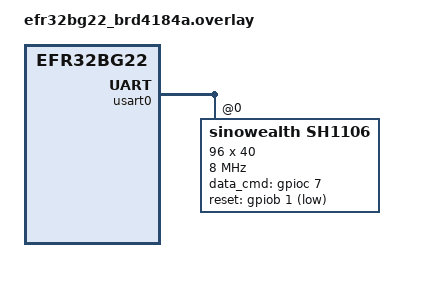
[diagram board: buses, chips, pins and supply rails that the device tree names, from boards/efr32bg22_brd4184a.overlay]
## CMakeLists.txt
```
# # SPDX-License-Identifier: Apache-2.0

cmake_minimum_required(VERSION 3.20.0)
find_package(Zephyr REQUIRED HINTS $ENV{ZEPHYR_BASE})
project(zephyr_mikrobus_demo)

target_sources(app PRIVATE src/main.c)
target_sources(app PRIVATE src/app.c)
target_sources(app PRIVATE fonts/font5x7.c)
target_sources(app PRIVATE fonts/font8x8.c)
target_sources(app PRIVATE fonts/font10x16.c)
target_sources(app PRIVATE fonts/font15x24.c)
target_sources(app PRIVATE fonts/font20x32.c)

target_include_directories(app PRIVATE ./)
```

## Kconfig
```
# Copyright (c) 2025 Silicon Laboratories Inc. www.silabs.com
# SPDX-License-Identifier: Apache-2.0

mainmenu "Si7210: Magnetic Threshold Configuration"

config SI7210_MAGNETIC_THRESHOLD
	int "Si7210 Magnetic threshold"
	default 20
	help
		This configuration can be used for configure magnetic threshold.

source "Kconfig.zephyr"
```

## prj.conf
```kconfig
CONFIG_HEAP_MEM_POOL_SIZE=4096
CONFIG_BUILD_OUTPUT_HEX=y

CONFIG_CHARACTER_FRAMEBUFFER=y
CONFIG_CHARACTER_FRAMEBUFFER_USE_DEFAULT_FONTS=n

CONFIG_SENSOR=y
CONFIG_SPI=y
CONFIG_DISPLAY=y
CONFIG_SSD1306=y
CONFIG_SSD1306_DEFAULT_CONTRAST=175
CONFIG_STDOUT_CONSOLE=y
CONFIG_LOG_BUFFER_SIZE=4096
CONFIG_LOG=y
CONFIG_SERIAL=y
CONFIG_CBPRINTF_FP_SUPPORT=y
```

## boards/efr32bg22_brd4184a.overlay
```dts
/*
 * Copyright (c) 2019 Callender-Consulting, LLC
 *
 * SPDX-License-Identifier: Apache-2.0
 */

&usart0 {
	sh1106: sh1106@0 {
		status = "okay";
		compatible = "sinowealth,sh1106";
		reg = <0>;
		spi-max-frequency = <8000000>;
		width = <96>;
		height = <40>;
		segment-offset = <0x20>;
		page-offset = <0>;
		display-offset = <0>;
		multiplex-ratio = <38>;
		segment-remap;
		com-invdir;
		prechargep = <0x25>;
		data_cmd-gpios = <&gpioc 7 GPIO_ACTIVE_HIGH>;
		reset-gpios = <&gpiob 1 GPIO_ACTIVE_LOW>;
	};

	cs-gpios = <&gpiob 2 GPIO_ACTIVE_LOW>;
	mx25r80: mx25r8035f@0 {
		status = "disabled";
	};
};
```

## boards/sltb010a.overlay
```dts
/*
 * Copyright (c) 2025 Silicon Laboratories Inc. www.silabs.com
 *
 * SPDX-License-Identifier: Apache-2.0
 */

&usart0 {
	ssd1306:ssd1306@0 {
		status = "okay";
		compatible = "solomon,ssd1306fb";
		reg = <0>;
		width = <96>;
		height = <40>;
		segment-offset = <0x20>;
		page-offset = <0>;
		display-offset = <0>;
		multiplex-ratio = <38>;
		segment-remap;
		inversion-on;
		com-invdir;
		prechargep = <0x25>;
		spi-max-frequency = <8000000>;
		data_cmd-gpios = <&gpioa 4 GPIO_ACTIVE_HIGH>;
		reset-gpios = <&gpiob 1 GPIO_ACTIVE_LOW>;
	};

	cs-gpios = <&gpiob 2 GPIO_ACTIVE_LOW>;
	mx25r80: mx25r8035f@0 {
		status = "disabled";
	};
};
```

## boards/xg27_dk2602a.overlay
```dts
/*
 * Copyright (c) 2025 Silicon Laboratories Inc. www.silabs.com
 *
 * SPDX-License-Identifier: Apache-2.0
 */

&usart0 {
	ssd1306:ssd1306@0 {
		status = "okay";
		compatible = "solomon,ssd1306fb";
		reg = <0>;
		width = <96>;
		height = <40>;
		segment-offset = <0x20>;
		page-offset = <0>;
		display-offset = <0>;
		multiplex-ratio = <38>;
		segment-remap;
		inversion-on;
		com-invdir;
		prechargep = <0x25>;
		spi-max-frequency = <8000000>;
		data_cmd-gpios = <&gpioa 4 GPIO_ACTIVE_HIGH>;
		reset-gpios = <&gpiob 1 GPIO_ACTIVE_LOW>;
	};

	cs-gpios = <&gpiob 2 GPIO_ACTIVE_LOW>;
	mx25r80: mx25r8035f@0 {
		status = "disabled";
	};
};
```

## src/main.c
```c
/***************************************************************************//**
 * @file main.c
 * @brief zephyr mikrobus demo source file.
 *******************************************************************************
 * # License
 * <b>Copyright 2025 Silicon Laboratories Inc. www.silabs.com</b>
 *******************************************************************************
 *
 * SPDX-License-Identifier: Zlib
 *
 * The licensor of this software is Silicon Laboratories Inc.
 *
 * This software is provided \'as-is\', without any express or implied
 * warranty. In no event will the authors be held liable for any damages
 * arising from the use of this software.
 *
 * Permission is granted to anyone to use this software for any purpose,
 * including commercial applications, and to alter it and redistribute it
 * freely, subject to the following restrictions:
 *
 * 1. The origin of this software must not be misrepresented; you must not
 *    claim that you wrote the original software. If you use this software
 *    in a product, an acknowledgment in the product documentation would be
 *    appreciated but is not required.
 * 2. Altered source versions must be plainly marked as such, and must not be
 *    misrepresented as being the original software.
 * 3. This notice may not be removed or altered from any source distribution.
 *
 *******************************************************************************
 * # EXPERIMENTAL QUALITY
 * This code has not been formally tested and is provided as-is. It is not
 * suitable for production environments. In addition, this code will not be
 * maintained and there may be no bug maintenance planned for these resources.
 * Silicon Labs may update projects from time to time.
 ******************************************************************************/

#include <zephyr/kernel.h>
#include "app.h"

#define STACKSIZE 1024
#define PRIORITY  7

/***************************************************************************//**
 * Main thread function.
 ******************************************************************************/
void main_thread(void *id, void *unused1, void *unused2)
{
  app_init();

  while (1) {
    app_process_action();
  }
}

K_THREAD_DEFINE(main_id, STACKSIZE, main_thread,
                NULL, NULL, NULL, PRIORITY, 0, 0);
```

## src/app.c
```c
/***************************************************************************//**
 * @file app.c
 * @brief zephyr mikrobus demo source file.
 *******************************************************************************
 * # License
 * <b>Copyright 2025 Silicon Laboratories Inc. www.silabs.com</b>
 *******************************************************************************
 *
 * SPDX-License-Identifier: Zlib
 *
 * The licensor of this software is Silicon Laboratories Inc.
 *
 * This software is provided \'as-is\', without any express or implied
 * warranty. In no event will the authors be held liable for any damages
 * arising from the use of this software.
 *
 * Permission is granted to anyone to use this software for any purpose,
 * including commercial applications, and to alter it and redistribute it
 * freely, subject to the following restrictions:
 *
 * 1. The origin of this software must not be misrepresented; you must not
 *    claim that you wrote the original software. If you use this software
 *    in a product, an acknowledgment in the product documentation would be
 *    appreciated but is not required.
 * 2. Altered source versions must be plainly marked as such, and must not be
 *    misrepresented as being the original software.
 * 3. This notice may not be removed or altered from any source distribution.
 *
 *******************************************************************************
 * # EXPERIMENTAL QUALITY
 * This code has not been formally tested and is provided as-is. It is not
 * suitable for production environments. In addition, this code will not be
 * maintained and there may be no bug maintenance planned for these resources.
 * Silicon Labs may update projects from time to time.
 ******************************************************************************/

#include <stdio.h>
#include <zephyr/device.h>
#include <zephyr/display/cfb.h>
#include <zephyr/drivers/sensor.h>
#include <zephyr/logging/log.h>
#include "app.h"

#define DISPLAY_DRIVER       "solomon_ssd1306fb"
#define SELECTED_FONT_INDEX  3

LOG_MODULE_REGISTER(app, 3);

static const struct device *display;
static const struct device *sensor;
static struct cfb_position line_start_pos = {
  .x = 0,
  .y = 10,
};
static struct cfb_position line_end_pos = {
  .x = 96,
  .y = 10,
};

static void app_sensor_init(void);
static void app_oled_init(void);
static void app_oled_update(float magnetic_value);

/***************************************************************************//**
 * OLED update application.
 ******************************************************************************/
static void app_oled_update(float magnetic_value)
{
  static char temp[10];

  cfb_framebuffer_clear(display, false);
  cfb_print(display, "Mikrobus Demo", 15, 0);

  cfb_draw_line(display, &line_start_pos, &line_end_pos);

  cfb_print(display, "Magnetic: ", 0, 15);
  snprintf(temp, sizeof(temp), "%.2f mT", (double)magnetic_value);
  cfb_print(display, temp, 45, 15);

  if (abs(magnetic_value) > CONFIG_SI7210_MAGNETIC_THRESHOLD) {
    LOG_INF("Detected a magnetic object nearby.");
    cfb_print(display, "< Magnetic Object >", 0, 27);
  }

  cfb_framebuffer_finalize(display);
}

/***************************************************************************//**
 * OLED initialization function.
 ******************************************************************************/
static void app_oled_init(void)
{
  display = DEVICE_DT_GET_ONE(solomon_ssd1306fb);

  if (NULL == display) {
    LOG_ERR("Mikroe OLED W Cick is not found.");
    return;
  }
  if (!device_is_ready(display)) {
    LOG_ERR("Mikroe OLED W Click is not ready!");
  }
  if (display_set_pixel_format(display, PIXEL_FORMAT_MONO10) != 0) {
    LOG_ERR("Failed to set required pixel format");
    return;
  }
  LOG_INF("Binding to %s", DISPLAY_DRIVER);
  if (cfb_framebuffer_init(display)) {
    LOG_ERR("Framebuffer initialization failed!");
    return;
  }

  cfb_framebuffer_clear(display, true);
  display_blanking_off(display);

  cfb_framebuffer_set_font(display, SELECTED_FONT_INDEX);

  LOG_INF("Mikroe OLED W Click initialized successfully.");
}

/***************************************************************************//**
 * Sensor initialization function.
 ******************************************************************************/
static void app_sensor_init(void)
{
  sensor = DEVICE_DT_GET_ANY(silabs_si7210);

  if (NULL == sensor) {
    LOG_ERR("Si7210 sensor is not found.");
    return;
  }

  if (!device_is_ready(display)) {
    LOG_ERR("Si7210 sensor is not ready!");
  }

  LOG_INF("Si7210 sensor initialized successfully.");
  LOG_INF("Magnetic induction threshold: %d mT",
          CONFIG_SI7210_MAGNETIC_THRESHOLD);
}

/***************************************************************************//**
 * Initialize application.
 ******************************************************************************/
void app_init(void)
{
  app_oled_init();
  app_sensor_init();
}

/***************************************************************************//**
 * Application ticking function.
 ******************************************************************************/
void app_process_action(void)
{
  struct sensor_value magnetic;
  float f_magnetic;

  while (1) {
    sensor_sample_fetch(sensor);
    sensor_channel_get(sensor, SENSOR_CHAN_MAGN_Z, &magnetic);

    f_magnetic = magnetic.val1 + magnetic.val2 / 1000000;
    LOG_INF("Magnetic: %.2f mT", (double)f_magnetic);

    app_oled_update(f_magnetic);
    k_sleep(K_MSEC(1000));
  }
}
```

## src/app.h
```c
/***************************************************************************//**
 * @file app.h
 * @brief zephyr mikrobus demo header file.
 *******************************************************************************
 * # License
 * <b>Copyright 2025 Silicon Laboratories Inc. www.silabs.com</b>
 *******************************************************************************
 *
 * SPDX-License-Identifier: Zlib
 *
 * The licensor of this software is Silicon Laboratories Inc.
 *
 * This software is provided \'as-is\', without any express or implied
 * warranty. In no event will the authors be held liable for any damages
 * arising from the use of this software.
 *
 * Permission is granted to anyone to use this software for any purpose,
 * including commercial applications, and to alter it and redistribute it
 * freely, subject to the following restrictions:
 *
 * 1. The origin of this software must not be misrepresented; you must not
 *    claim that you wrote the original software. If you use this software
 *    in a product, an acknowledgment in the product documentation would be
 *    appreciated but is not required.
 * 2. Altered source versions must be plainly marked as such, and must not be
 *    misrepresented as being the original software.
 * 3. This notice may not be removed or altered from any source distribution.
 *
 *******************************************************************************
 * # EXPERIMENTAL QUALITY
 * This code has not been formally tested and is provided as-is. It is not
 * suitable for production environments. In addition, this code will not be
 * maintained and there may be no bug maintenance planned for these resources.
 * Silicon Labs may update projects from time to time.
 ******************************************************************************/

#ifndef APP_H_
#define APP_H_

/***************************************************************************//**
 * Initialize application.
 ******************************************************************************/
void app_init(void);

/***************************************************************************//**
 * App ticking function.
 ******************************************************************************/
void app_process_action(void);

#endif /*APP_H_*/
```
